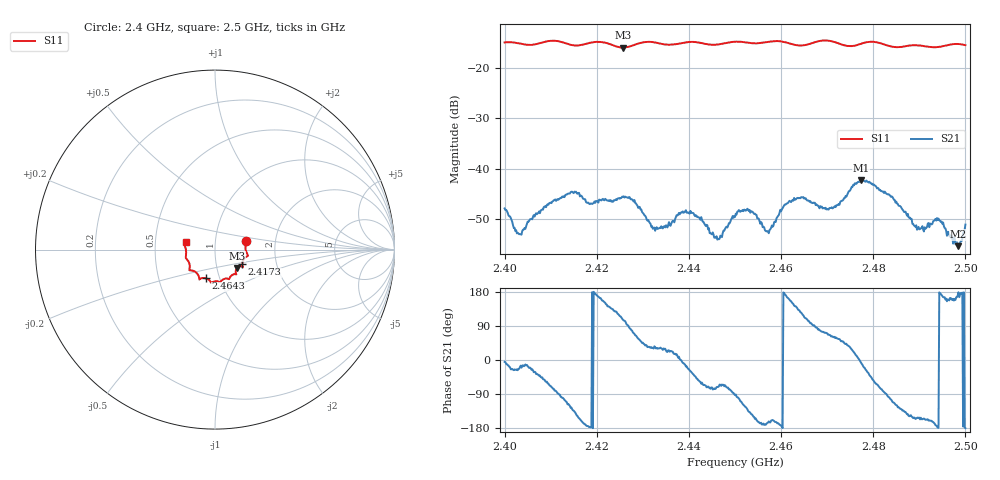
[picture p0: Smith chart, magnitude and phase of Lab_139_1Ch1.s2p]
# Hz S RI R 50
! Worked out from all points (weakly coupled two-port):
!   601 points, 2.4 GHz to 2.5 GHz, reference 50 ohm
!   highest |S21| = -42.34 dB at 2.4773 GHz (marker M1); lowest = -55.4 dB at 2.4985 GHz (marker M2)
!   lowest |S11| = -15.9 dB at 2.4257 GHz (marker M3), VSWR 1.38, Z = 62.5 - j13.1 ohm
!   |S11| at or under -10 dB: start of sweep to end of sweep
!   S12 and S22 are empty: the file has one direction only
!   S11 on the Smith chart (normalised r, x): 2.4 GHz: 1.41, +0.14; 2.4173 GHz: 1.34, -0.23; 2.4643 GHz: 0.86, -0.28; 2.5 GHz: 0.72, +0.06
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2.4e9  0.1731 0.0496  0.004 -0.000332  0 0  0 0
2.403167e9  0.1732 0.0336  0.00205 -0.000868  0 0  0 0
2.4105e9  0.1842 -0.0335  0.00116 -0.00459  0 0  0 0
2.416667e9  0.1527 -0.0749  -0.00508 -0.00172  0 0  0 0
2.417333e9  0.1519 -0.0822  -0.00487 -0.000918  0 0  0 0
2.425667e9  0.1229 -0.1024  -0.00149 0.00503  0 0  0 0
2.433333e9  0.1129 -0.1367  0.00218 0.0013  0 0  0 0
2.439833e9  0.0802 -0.1628  0.00337 -0.00145  0 0  0 0
2.446667e9  0.0424 -0.1677  0.000854 -0.00182  0 0  0 0
2.45e9  0.0296 -0.1808  -0.000146 -0.0033  0 0  0 0
2.453167e9  0.0164 -0.1772  -0.00286 -0.00263  0 0  0 0
2.457167e9  -0.015 -0.1816  -0.00229 -0.000602  0 0  0 0
2.460833e9  -0.0256 -0.1793  -0.00436 0.000559  0 0  0 0
2.464333e9  -0.0502 -0.1603  -0.003 0.00424  0 0  0 0
2.466667e9  -0.0761 -0.1597  -0.000386 0.00456  0 0  0 0
2.471333e9  -0.087 -0.1614  0.00202 0.00354  0 0  0 0
2.477333e9  -0.1302 -0.1163  0.00758 -0.000887  0 0  0 0
2.483333e9  -0.1406 -0.0892  -0.000745 -0.00551  0 0  0 0
2.489167e9  -0.1627 -0.0457  -0.0024 -0.00109  0 0  0 0
2.494333e9  -0.1625 0.00275  -0.00306 8.27e-05  0 0  0 0
2.4985e9  -0.1703 0.0339  -0.00169 3.47e-05  0 0  0 0
2.5e9  -0.1639 0.0422  -0.00277 -8.38e-06  0 0  0 0
